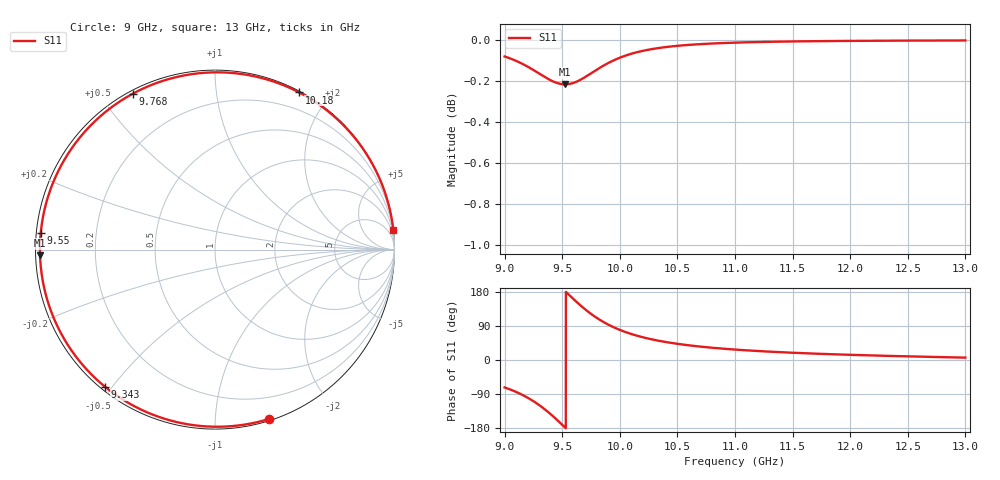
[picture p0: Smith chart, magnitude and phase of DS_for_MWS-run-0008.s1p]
! TOUCHSTONE file generated by CST DESIGN STUDIO
! Date and time: Tue Feb  4 17:50:54 2025
! Project name: C:\Work\MatlabApps\UnitCellOptimizationMatlab\CST\unitcell.cst
! Tree item: Tasks\Sweep1\SPara1\S-Parameters
! Header version: 2024
! Port assignment regex: !\s*Touchstone port\s*([0-9]+)\s*=\s*(CST MWS port|CST DES external port|CST DES block port)\s*(.+)\s* \(\"(.*)\"\)(\s*mode\s*([0-9]+))?.*
! Touchstone port assignment:
! Touchstone port 1 = CST DES external port 1 ("")
# GHz S MA R 50
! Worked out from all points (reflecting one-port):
!   4001 points, 9 GHz to 13 GHz, reference 50 ohm
!   lowest |S11| = -0.2 dB at 9.525 GHz (marker M1), VSWR 79.80, Z = 0.627 - j0.8 ohm
!   phase of S11 starts at -72 deg and turns -281 deg over the sweep
!   S11 on the Smith chart (normalised r, x): 9 GHz: 0.01, -1.37; 9.343 GHz: 0.01, -0.48; 9.55 GHz: 0.01, +0.05; 9.768 GHz: 0.01, +0.60; 10.18 GHz: 0.01, +1.67; 13 GHz: 0, +18
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9  0.9906 -72.4
9.095  0.9883 -83.6
9.201  0.9849 -99.7
9.275  0.9821 -113.6
9.343  0.9795 -128.7
9.386  0.9779 -139.4
9.43  0.9766 -151.1
9.5  0.9753 -170.9
9.525  0.9752 -178.2
9.55  0.9753 174.5
9.604  0.9762 159.0
9.665  0.978 142.4
9.716  0.9799 129.6
9.768  0.982 117.7
9.817  0.984 107.8
9.87  0.9859 98.2
9.93  0.9879 88.8
10  0.9899 79.5
10.085  0.9918 70.1
10.177  0.9934 61.8
10.324  0.9951 51.6
10.5  0.9965 42.7
10.721  0.9975 34.6
11  0.9983 27.5
11.5  0.9989 19.1
12  0.9992 13.7
12.5  0.9994 9.6
13  0.9995 6.3
